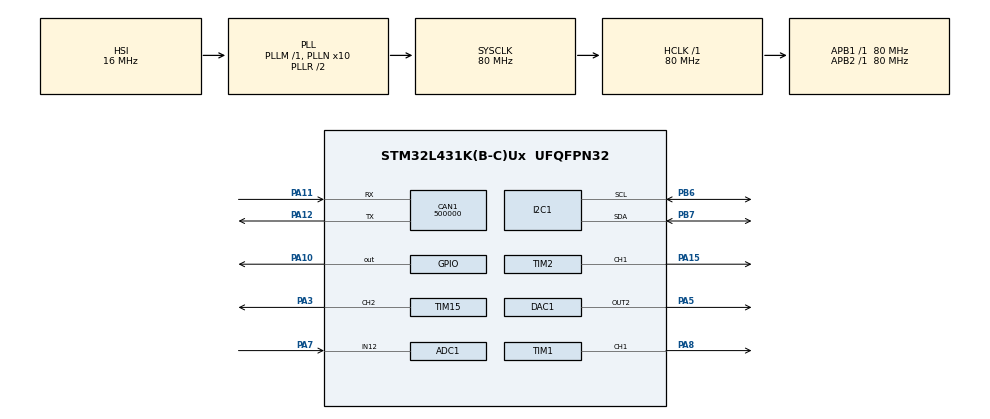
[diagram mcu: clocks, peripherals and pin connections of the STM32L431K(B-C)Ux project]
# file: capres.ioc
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ADC1.Channel-6\#ChannelRegularConversion=ADC_CHANNEL_12
ADC1.ClockPrescaler=ADC_CLOCK_SYNC_PCLK_DIV1
ADC1.ContinuousConvMode=ENABLE
ADC1.DMAContinuousRequests=DISABLE
ADC1.DataAlign=ADC_DATAALIGN_LEFT
ADC1.EOCSelection=ADC_EOC_SINGLE_CONV
ADC1.EnableInjectedConversion=DISABLE
ADC1.EnableRegularConversion=ENABLE
ADC1.ExternalTrigConv=ADC_EXTERNALTRIG_T15_TRGO
ADC1.NbrOfConversion=1
ADC1.NbrOfConversionFlag=1
ADC1.OffsetNumber-6\#ChannelRegularConversion=ADC_OFFSET_NONE
ADC1.OversamplingMode=ENABLE
ADC1.Rank-6\#ChannelRegularConversion=1
ADC1.Ratio=ADC_OVERSAMPLING_RATIO_16
ADC1.Resolution=ADC_RESOLUTION_12B
ADC1.RightBitShift=ADC_RIGHTBITSHIFT_4
ADC1.SamplingTime-6\#ChannelRegularConversion=ADC_SAMPLETIME_2CYCLES_5
ADC1.master=1
CAN1.BS1=CAN_BS1_8TQ
CAN1.CalculateBaudRate=500000
CAN1.CalculateTimeBit=2000
CAN1.CalculateTimeQuantum=200.0
DAC1.DAC_Channel-DAC_OUT2=DAC_CHANNEL_2
Dma.ADC1.0.Direction=DMA_PERIPH_TO_MEMORY
Dma.ADC1.0.Instance=DMA1_Channel1
Dma.ADC1.0.MemDataAlignment=DMA_MDATAALIGN_HALFWORD
Dma.ADC1.0.MemInc=DMA_MINC_ENABLE
Dma.ADC1.0.Mode=DMA_NORMAL
Dma.ADC1.0.PeriphDataAlignment=DMA_PDATAALIGN_HALFWORD
Dma.ADC1.0.PeriphInc=DMA_PINC_DISABLE
Dma.ADC1.0.Priority=DMA_PRIORITY_HIGH
Dma.I2C1_TX.1.Direction=DMA_MEMORY_TO_PERIPH
Dma.I2C1_TX.1.Instance=DMA1_Channel6
Dma.I2C1_TX.1.MemDataAlignment=DMA_MDATAALIGN_BYTE
Dma.I2C1_TX.1.MemInc=DMA_MINC_ENABLE
Dma.I2C1_TX.1.Mode=DMA_NORMAL
Dma.I2C1_TX.1.PeriphDataAlignment=DMA_PDATAALIGN_BYTE
Dma.I2C1_TX.1.PeriphInc=DMA_PINC_DISABLE
Dma.I2C1_TX.1.Priority=DMA_PRIORITY_LOW
Dma.Request0=ADC1
Dma.Request1=I2C1_TX
I2C1.Timing=0x10909CEC
Mcu.Family=STM32L4
Mcu.Name=STM32L431K(B-C)Ux
Mcu.Package=UFQFPN32
NVIC.ADC1_IRQn=true\:0\:0\:false\:false\:true\:true\:true\:true
NVIC.DMA1_Channel1_IRQn=true\:0\:0\:false\:false\:true\:false\:true\:true
NVIC.DMA1_Channel6_IRQn=true\:0\:0\:false\:false\:true\:false\:true\:true
NVIC.I2C1_ER_IRQn=true\:0\:0\:false\:false\:true\:true\:true\:true
NVIC.I2C1_EV_IRQn=true\:0\:0\:false\:false\:true\:true\:true\:true
NVIC.PriorityGroup=NVIC_PRIORITYGROUP_4
PA10.Signal=GPIO_Output
PA11.Mode=CAN_Activate
PA11.Signal=CAN1_RX
PA12.Mode=CAN_Activate
PA12.Signal=CAN1_TX
PA13\ (JTMS-SWDIO).Mode=Trace_Asynchronous_SW
PA13\ (JTMS-SWDIO).Signal=SYS_JTMS-SWDIO
PA14\ (JTCK-SWCLK).Mode=Trace_Asynchronous_SW
PA14\ (JTCK-SWCLK).Signal=SYS_JTCK-SWCLK
PA15\ (JTDI).Signal=S_TIM2_CH1
PA3.Signal=S_TIM15_CH2
PA5.Signal=COMP_DAC12_group
PA7.Signal=ADCx_IN12
PA8.Signal=S_TIM1_CH1
PB3\ (JTDO-TRACESWO).Mode=Trace_Asynchronous_SW
PB3\ (JTDO-TRACESWO).Signal=SYS_JTDO-SWO
PB6.GPIO_FM6=__NULL
PB6.GPIO_Pu=GPIO_PULLUP
PB6.GPIO_Speed=GPIO_SPEED_FREQ_VERY_HIGH
PB6.Mode=I2C
PB6.Signal=I2C1_SCL
PB7.GPIO_FM7=__NULL
PB7.GPIO_Pu=GPIO_NOPULL
PB7.GPIO_Speed=GPIO_SPEED_FREQ_VERY_HIGH
PB7.Mode=I2C
PB7.Signal=I2C1_SDA
ProjectManager.HeapSize=0x200
ProjectManager.StackSize=0x400
ProjectManager.TargetToolchain=STM32CubeIDE
RCC.ADCFreq_Value=64000000
RCC.AHBFreq_Value=80000000
RCC.APB1Freq_Value=80000000
RCC.APB1TimFreq_Value=80000000
RCC.APB2Freq_Value=80000000
RCC.APB2TimFreq_Value=80000000
RCC.CortexFreq_Value=80000000
RCC.HCLKFreq_Value=80000000
RCC.HSE_VALUE=8000000
RCC.HSI48_VALUE=48000000
RCC.HSI_VALUE=16000000
RCC.LSE_VALUE=32768
RCC.MSI_VALUE=4000000
RCC.PLLN=10
RCC.PLLSourceVirtual=RCC_PLLSOURCE_HSI
RCC.SYSCLKFreq_VALUE=80000000
RCC.SYSCLKSource=RCC_SYSCLKSOURCE_PLLCLK
RCC.VCOOutputFreq_Value=160000000
SH.ADCx_IN12.0=ADC1_IN12,IN12-Single-Ended
SH.COMP_DAC12_group.0=DAC1_OUT2,DAC_OUT2
SH.S_TIM15_CH2.0=TIM15_CH2,PWM Generation2 CH2
SH.S_TIM1_CH1.0=TIM1_CH1,PWM Generation1 CH1
SH.S_TIM2_CH1.0=TIM2_CH1,PWM Generation1 CH1
TIM1.Channel-PWM\ Generation1\ CH1=TIM_CHANNEL_1
TIM1.Period=9
TIM1.Pulse-PWM\ Generation1\ CH1=1
TIM1.TIM_MasterOutputTrigger=TIM_TRGO_OC1REF
TIM1.TIM_MasterOutputTrigger2=TIM_TRGO2_OC1REF
TIM15.Channel-PWM\ Generation2\ CH2=TIM_CHANNEL_2
TIM15.Period=65000
TIM15.Pulse-PWM\ Generation2\ CH2=36
TIM15.TIM_MasterOutputTrigger=TIM_TRGO_UPDATE
TIM15.TIM_MasterSlaveMode=TIM_MASTERSLAVEMODE_DISABLE
TIM2.Channel-PWM\ Generation1\ CH1=TIM_CHANNEL_1
TIM2.OCMode_PWM-PWM\ Generation1\ CH1=TIM_OCMODE_PWM1
TIM2.Period=60
TIM2.Prescaler=80
TIM2.Pulse-PWM\ Generation1\ CH1=30
TIM2.TIM_MasterOutputTrigger=TIM_TRGO_OC1REF
VP_TIM15_VS_ClockSourceINT.Mode=Internal
VP_TIM15_VS_ClockSourceITR.Mode=TriggerSource_ITR0
VP_TIM15_VS_ControllerModeReset.Mode=Reset Mode
VP_TIM1_VS_ClockSourceITR.Mode=TriggerSource_ITR1
VP_TIM1_VS_ControllerModeClock.Mode=Clock Mode
board=custom

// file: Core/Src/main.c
/* USER CODE BEGIN Header */
/**
  ******************************************************************************
  * @file           : main.c
  * @brief          : Main program body
  ******************************************************************************
  * @attention
  *
  * Copyright (c) 2024 STMicroelectronics.
  * All rights reserved.
  *
  * This software is licensed under terms that can be found in the LICENSE file
  * in the root directory of this software component.
  * If no LICENSE file comes with this software, it is provided AS-IS.
  *
  ******************************************************************************
  */
/* USER CODE END Header */
#include "main.h"
#include "adc.h"
#include "can.h"
#include "dac.h"
#include "dma.h"
#include "i2c.h"
#include "tim.h"
#include "gpio.h"

/* USER CODE BEGIN PV */
uint32_t analogValues[256];
uint32_t dac = 5;
uint8_t i2cData[2] = {0, 25};
uint8_t address = 0x2e;
HAL_StatusTypeDef transmitted;
float result;
/* USER CODE END PV */

void SystemClock_Config(void);

/* USER CODE BEGIN 0 */
void HAL_I2C_MasterTxCpltCallback(I2C_HandleTypeDef *hi2c)
{
	transmitted = 1;
}

void i2c_WriteMulti(uint8_t addr,uint8_t *buffer, uint8_t length)
{
	I2C1->CR1 |= I2C_CR1_PE;
	while (I2C1->ISR & I2C_ISR_BUSY);           //wait until bus not busy
	I2C1->CR2 |= I2C_CR2_START;                 //generate start
	I2C1->TXDR = addr<< 1;                 	 	// Send slave address
	for (uint8_t i=0;i<length;i++)
	 {
	 I2C1->TXDR=buffer[i]; 													//filling buffer with command or data
		while (!(I2C1->ISR & I2C_ISR_TXE));
		CLEAR_BIT(I2C1->ICR, I2C_ISR_TXE);
	 }

	I2C1->CR2 |= I2C_CR2_STOP;										//wait until transfer finished

}

float calculateAngle(uint32_t *arr, uint32_t length)
{
	uint64_t moment = 0;
	uint64_t mass = 0;
	float angle;

	for(uint32_t i = 0;i< length;i++)
	{
		moment += arr[i]*i;
		mass += arr[i];
	}
	angle = ((float)moment) / ((float) mass);

	return angle;

}

/* USER CODE END 0 */

int main(void)
{

  /* MCU Configuration--------------------------------------------------------*/

  /* Reset of all peripherals, Initializes the Flash interface and the Systick. */
  HAL_Init();

  /* Configure the system clock */
  SystemClock_Config();

  /* Initialize all configured peripherals */
  MX_GPIO_Init();
  MX_DMA_Init();
  MX_ADC1_Init();
  MX_CAN1_Init();
  MX_DAC1_Init();
  MX_I2C1_Init();
  MX_TIM1_Init();
  MX_TIM2_Init();
  MX_TIM15_Init();
  /* USER CODE BEGIN 2 */

  HAL_ADC_Start_DMA(&hadc1, analogValues, 256);
  HAL_TIM_PWM_Start(&htim2, TIM_CHANNEL_1);
  HAL_TIM_PWM_Start(&htim1, TIM_CHANNEL_1);
  HAL_TIM_PWM_Start(&htim15, TIM_CHANNEL_2);
  HAL_DAC_Start(&hdac1, DAC_CHANNEL_2);

  transmitted = HAL_I2C_Master_Transmit(&hi2c1, address<<1, i2cData, 2,100);

  /* USER CODE END 2 */

  /* Infinite loop */
  /* USER CODE BEGIN WHILE */
  while (1)
  {
	  transmitted = HAL_I2C_Master_Transmit(&hi2c1, address<<1, i2cData, 2,100);
	  HAL_Delay(10);
	  HAL_ADC_Start_DMA(&hadc1, analogValues, 256);
	  HAL_DAC_SetValue(&hdac1, DAC_CHANNEL_2, DAC_ALIGN_12B_R, dac);
	  result = calculateAngle(analogValues, 256);

    /* USER CODE END WHILE */

  }
}

void SystemClock_Config(void)
{
  RCC_OscInitTypeDef RCC_OscInitStruct = {0};
  RCC_ClkInitTypeDef RCC_ClkInitStruct = {0};

  /** Configure the main internal regulator output voltage
  */
  if (HAL_PWREx_ControlVoltageScaling(PWR_REGULATOR_VOLTAGE_SCALE1) != HAL_OK)
  {
    Error_Handler();
  }

  /** Initializes the RCC Oscillators according to the specified parameters
  * in the RCC_OscInitTypeDef structure.
  */
  RCC_OscInitStruct.OscillatorType = RCC_OSCILLATORTYPE_HSI;
  RCC_OscInitStruct.HSIState = RCC_HSI_ON;
  RCC_OscInitStruct.HSICalibrationValue = RCC_HSICALIBRATION_DEFAULT;
  RCC_OscInitStruct.PLL.PLLState = RCC_PLL_ON;
  RCC_OscInitStruct.PLL.PLLSource = RCC_PLLSOURCE_HSI;
  RCC_OscInitStruct.PLL.PLLM = 1;
  RCC_OscInitStruct.PLL.PLLN = 10;
  RCC_OscInitStruct.PLL.PLLP = RCC_PLLP_DIV7;
  RCC_OscInitStruct.PLL.PLLQ = RCC_PLLQ_DIV2;
  RCC_OscInitStruct.PLL.PLLR = RCC_PLLR_DIV2;
  if (HAL_RCC_OscConfig(&RCC_OscInitStruct) != HAL_OK)
  {
    Error_Handler();
  }

  /** Initializes the CPU, AHB and APB buses clocks
  */
  RCC_ClkInitStruct.ClockType = RCC_CLOCKTYPE_HCLK|RCC_CLOCKTYPE_SYSCLK
                              |RCC_CLOCKTYPE_PCLK1|RCC_CLOCKTYPE_PCLK2;
  RCC_ClkInitStruct.SYSCLKSource = RCC_SYSCLKSOURCE_PLLCLK;
  RCC_ClkInitStruct.AHBCLKDivider = RCC_SYSCLK_DIV1;
  RCC_ClkInitStruct.APB1CLKDivider = RCC_HCLK_DIV1;
  RCC_ClkInitStruct.APB2CLKDivider = RCC_HCLK_DIV1;

  if (HAL_RCC_ClockConfig(&RCC_ClkInitStruct, FLASH_LATENCY_4) != HAL_OK)
  {
    Error_Handler();
  }
}

void Error_Handler(void)
{
  __disable_irq();
  while (1)
  {
  }
}
